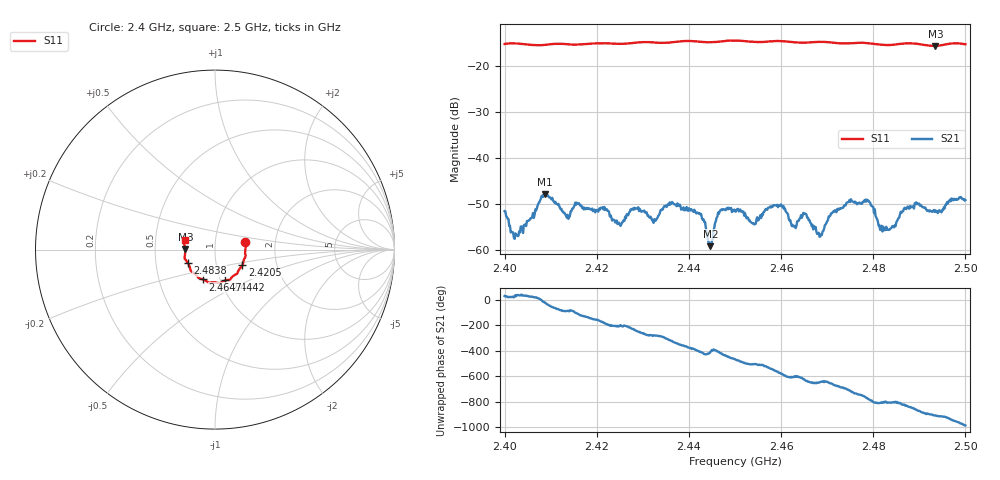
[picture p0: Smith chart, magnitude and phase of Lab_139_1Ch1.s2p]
# Hz S RI R 50
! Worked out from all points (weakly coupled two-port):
!   601 points, 2.4 GHz to 2.5 GHz, reference 50 ohm
!   highest |S21| = -47.92 dB at 2.4088 GHz (marker M1); lowest = -59.2 dB at 2.4447 GHz (marker M2)
!   lowest |S11| = -15.6 dB at 2.4935 GHz (marker M3), VSWR 1.40, Z = 35.8 + j0.136 ohm
!   |S11| at or under -10 dB: start of sweep to end of sweep
!   S12 and S22 are empty: the file has one direction only
!   S11 on the Smith chart (normalised r, x): 2.4 GHz: 1.40, +0.12; 2.4205 GHz: 1.34, -0.24; 2.4442 GHz: 1.06, -0.37; 2.4647 GHz: 0.83, -0.29; 2.4838 GHz: 0.73, -0.11; 2.5 GHz: 0.71, +0.07
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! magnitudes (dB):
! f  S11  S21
! 2.4 GHz  -15.2  -51.5
! 2.4025 GHz  -15.1  -56.7
! 2.4088 GHz  -15.4  -47.9
! 2.4137 GHz  -15.3  -52.3
! 2.4167 GHz  -15.3  -50.3
! 2.4205 GHz  -15.1  -51.0
! 2.4333 GHz  -15.0  -52.6
! 2.441 GHz  -14.6  -51.7
! 2.4442 GHz  -14.8  -57.9
! 2.4447 GHz  -14.8  -59.2
! 2.4468 GHz  -14.7  -51.4
! 2.45 GHz  -14.4  -51.4
! 2.4647 GHz  -14.9  -52.5
! 2.4667 GHz  -14.8  -54.8
! 2.4685 GHz  -14.7  -57.1
! 2.4713 GHz  -14.9  -51.6
! 2.4785 GHz  -15.0  -49.5
! 2.4833 GHz  -15.5  -55.6
! 2.4838 GHz  -15.4  -55.3
! 2.4895 GHz  -15.2  -50.0
! 2.4935 GHz  -15.6  -51.4
! 2.5 GHz  -15.3  -49.1
